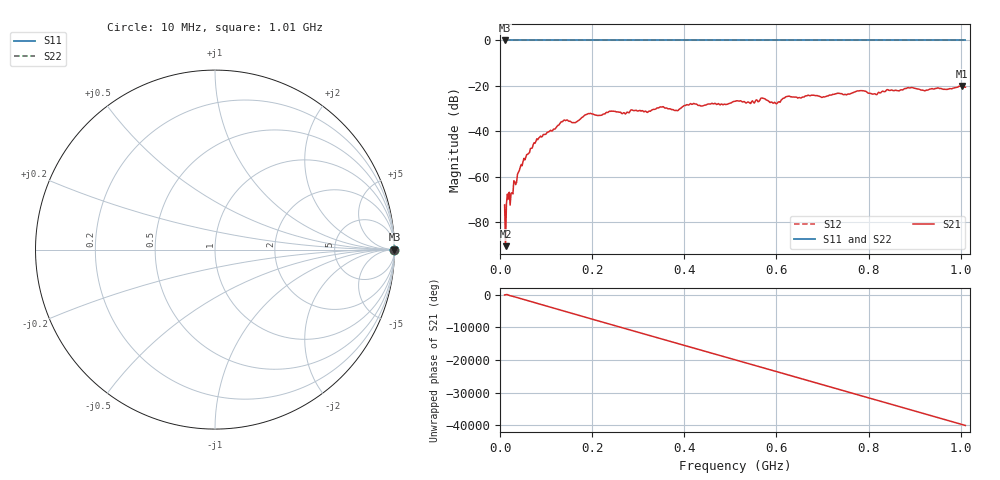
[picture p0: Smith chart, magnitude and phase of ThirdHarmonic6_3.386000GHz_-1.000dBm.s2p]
! 8/17/2025 10:46:45 AM
! C:\ANRITSUVNA\TEMP\TEMP.S2P
! CHANNEL.1
! TR.MEASUREMENT
! RAW.DATA
! RF.CORRECTION.OFF
! AVERAGING.OFF
! IF.BANDWIDTH: 5KHZ
! SWEEPTYPE:  FREQ.SWEEP(Linear)
! Reference Plane Port Info
! PORT:  PORT1  PORT2
! DISTANCE:  0  m  0  m
! TIME:  0  s  0  s
! PHASE.OFFSET:  0  deg.  0  deg.
! LOSS:  0  dB  0  dB
! REF.LOSS:  0  dB  0  dB
! REF.FREQ:  0  Hz  0  Hz
! Power Info
! POWER:  -20  dBm  -20  dBm
! EFF.POWER:  -20  dBm  -20  dBm
! SOURCE.ATTEN:  0  dB  0  dB
! TEST.ATTEN:  0  dB  0  dB
# GHZ S RI R 50.0
! FREQ.GHZ  S11RE  S11IM  S21RE  S21IM  S12RE  S12IM  S22RE  S22IM
!; PortSelection: Port_12
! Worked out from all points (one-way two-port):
!   501 points, 10 MHz to 1.01 GHz, reference 50 ohm
!   highest |S21| = -20.10 dB at 1.002 GHz (marker M1); lowest = -90.7 dB at 12 MHz (marker M2)
!   lowest |S11| = 0.0 dB at 10 MHz (marker M3)
!   |S11| at or under -10 dB: nowhere
!   |S22| runs from 0.0 to 0.0 dB; largest |S21 - S12| = 1.1
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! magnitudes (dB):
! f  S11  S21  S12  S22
! 10 MHz  0.0  -72.5  0.0  0.0
! 12 MHz  0.0  -90.7  0.0  0.0
! 26 MHz  0.0  -67.1  0.0  0.0
! 48 MHz  0.0  -55.2  0.0  0.0
! 76 MHz  0.0  -45.3  0.0  0.0
! 136 MHz  0.0  -35.8  0.0  0.0
! 162 MHz  0.0  -36.3  0.0  0.0
! 178 MHz  0.0  -33.9  0.0  0.0
! 194 MHz  0.0  -32.3  0.0  0.0
! 344 MHz  0.0  -29.8  0.0  0.0
! 382 MHz  0.0  -30.8  0.0  0.0
! 416 MHz  0.0  -28.2  0.0  0.0
! 510 MHz  0.0  -26.8  0.0  0.0
! 570 MHz  0.0  -25.4  0.0  0.0
! 598 MHz  0.0  -27.7  0.0  0.0
! 624 MHz  0.0  -24.6  0.0  0.0
! 678 MHz  0.0  -24.2  0.0  0.0
! 784 MHz  0.0  -22.1  0.0  0.0
! 814 MHz  0.0  -23.5  0.0  0.0
! 844 MHz  0.0  -22.0  0.0  0.0
! 1.002 GHz  0.0  -20.1  0.0  0.0
! 1.01 GHz  0.0  -20.6  0.0  0.0
